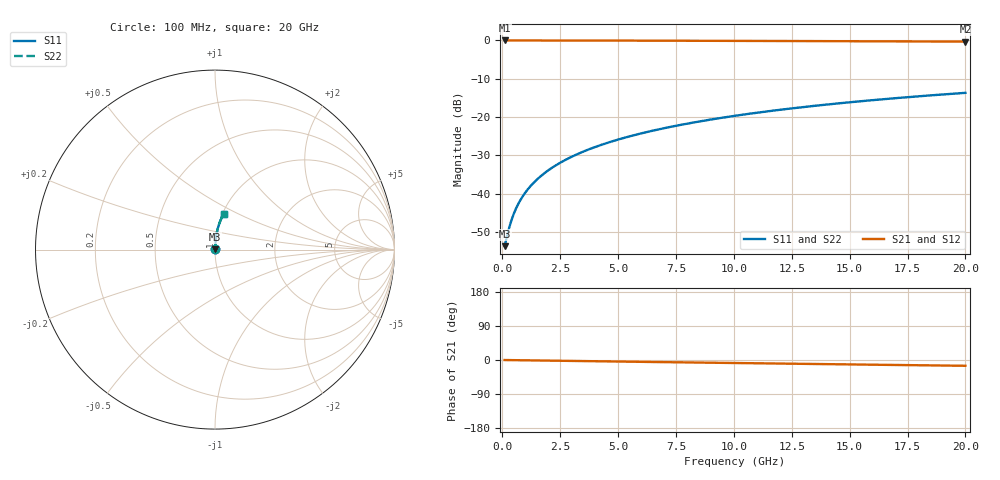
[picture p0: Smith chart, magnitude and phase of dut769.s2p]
! Touchstone file exported from HFSS 2024.1.0
!  File:  C:/UserFiles/LocalFiles/RDL_TSV_Batchsim/temp_RDL_bottom_769_1779860544.aedt
!  Generated:  01:45:08 PM May 27, 2026
!  Design:  RDL_bottom
!  Project:  temp_RDL_bottom_769_1779860544
!  Setup:  Setup1
!  Solution:  Sweep
! Variables:
!  dtsv = 10.80580581um
!  hbump = 3um
!  htsv = 69.49um
!  ldown = 141.27um
!  lrdl = 100um
!  p = 40
!  p1 = 52.84um
!  rhole = 1um
!  t = 450um
!  tdown = 2.32um
!  trdl = 3.915915916um
!  wdown = 14.53um
!  wrdl = 20um
# GHz S MA R 50.000000
! Terminal data exported
! Port[1] = RDL1_T1
! Port[2] = RDL1_T2
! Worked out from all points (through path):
!   200 points, 100 MHz to 20 GHz, reference 50 ohm
!   highest |S21| = -0.02 dB at 100 MHz (marker M1); lowest = -0.3 dB at 20 GHz (marker M2)
!   group delay of S21, straight-line fit = 2.12 ps
!   lowest |S11| = -53.7 dB at 100 MHz (marker M3), VSWR 1.00, Z = 50.2 + j0.105 ohm
!   |S11| at or under -10 dB: start of sweep to end of sweep
!   |S22| runs from -53.7 to -13.7 dB; largest |S21 - S12| = 3e-15
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0.1  0.002069 30.4  0.9982 -0.1  0.9982 -0.1  0.002069 30.4
! Gamma 0 0 0 0
! Port Impedance 50 0 50 0
0.3  0.00362 59.7  0.9982 -0.3  0.9982 -0.3  0.00362 59.7
0.4  0.004551 65.9  0.9981 -0.3  0.9981 -0.3  0.004551 65.9
0.5  0.00551 69.9  0.9981 -0.4  0.9981 -0.4  0.00551 69.9
0.6  0.006481 72.7  0.998 -0.5  0.998 -0.5  0.006481 72.7
0.8  0.00844 76.3  0.9979 -0.7  0.9979 -0.7  0.00844 76.3
1.1  0.01139 79.4  0.9978 -0.9  0.9978 -0.9  0.01139 79.4
1.3  0.01337 80.7  0.9977 -1.1  0.9977 -1.1  0.01337 80.7
1.5  0.01535 81.7  0.9976 -1.2  0.9976 -1.2  0.01535 81.7
1.8  0.01834 82.8  0.9974 -1.5  0.9974 -1.5  0.01834 82.8
2.1  0.02133 83.6  0.9972 -1.7  0.9972 -1.7  0.02133 83.6
2.7  0.02736 84.6  0.9967 -2.2  0.9967 -2.2  0.02736 84.6
3.5  0.03546 85.2  0.996 -2.9  0.996 -2.9  0.03546 85.2
4.2  0.04261 85.5  0.9952 -3.4  0.9952 -3.4  0.04261 85.5
5  0.05085 85.5  0.9942 -4.1  0.9942 -4.1  0.05085 85.5
5.9  0.06018 85.4  0.993 -4.8  0.993 -4.8  0.06018 85.4
6.8  0.06959 85.1  0.9916 -5.5  0.9916 -5.5  0.06959 85.1
8.3  0.08537 84.4  0.9891 -6.7  0.9891 -6.7  0.08537 84.4
10.1  0.1044 83.4  0.9858 -8.0  0.9858 -8.0  0.1044 83.4
13.4  0.1392 81.1  0.9792 -10.5  0.9792 -10.5  0.1392 81.1
16.7  0.1735 78.7  0.9718 -12.9  0.9718 -12.9  0.1735 78.7
20  0.207 76.3  0.9637 -15.3  0.9637 -15.3  0.207 76.3
